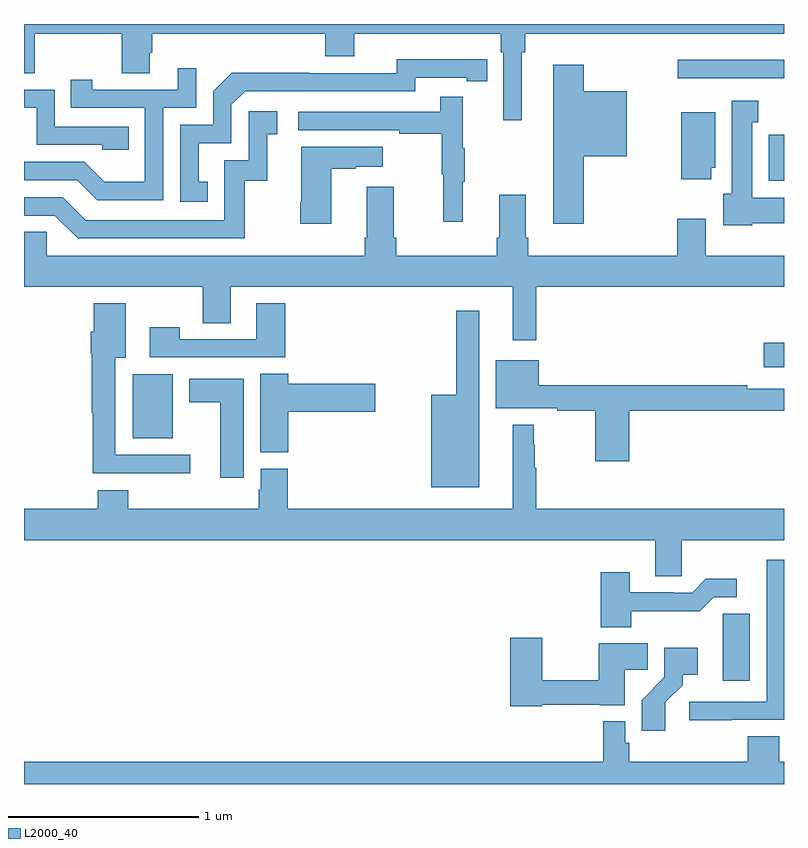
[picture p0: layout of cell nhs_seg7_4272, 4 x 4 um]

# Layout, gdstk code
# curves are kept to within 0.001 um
import gdstk
lib = gdstk.Library(unit=1e-6, precision=1e-09)
def R(c, l, rs):  # rectangles x0, y0, x1, y1
    for r in rs: c.add(gdstk.rectangle(r[:2], r[2:], *l))
def P(c, l, *ps):  # polygons
    for p in ps: c.add(gdstk.Polygon(p, *l))
L2000_40 = (2000, 40)

nhs_seg7_4272 = lib.new_cell('nhs_seg7_4272')
R(nhs_seg7_4272, L2000_40, [(381.572,999.821,381.784,1000.156), (384.894,1000.193,385,1000.323), (384.92,1001.174,385,1001.416), (384.441,1001.715,385,1001.812)])
P(nhs_seg7_4272, L2000_40, [(383.62,1001.852),(383.639,1001.852),(383.639,1001.948),(385,1001.948),(385,1002),(381,1002),(381,1001.74),(381.057,1001.74),(381.057,1001.948),(381.514,1001.948),(381.514,1001.74),(381.661,1001.74),(381.661,1001.85),(381.674,1001.85),(381.674,1001.948),(382.586,1001.948),(382.586,1001.831),(382.738,1001.831),(382.738,1001.948),(383.51,1001.948),(383.51,1001.852),(383.523,1001.852),(383.523,1001.493),(383.62,1001.493)],
  [(381.968,1001.169),(381.919,1001.169),(381.919,1001.373),(382.092,1001.373),(382.092,1001.574),(382.164,1001.646),(383.058,1001.646),(383.058,1001.718),(383.33,1001.718),(383.33,1001.698),(383.438,1001.698),(383.438,1001.814),(382.962,1001.815),(382.962,1001.742),(382.502,1001.742),(382.502,1001.744),(382.094,1001.744),(381.996,1001.646),(381.996,1001.469),(381.822,1001.469),(381.822,1001.064),(381.968,1001.064)],
  [(383.945,1001.303),(384.172,1001.303),(384.172,1001.647),(383.945,1001.647),(383.945,1001.785),(383.786,1001.785),(383.786,1000.95),(383.945,1000.95)],
  [(381.732,1001.559),(381.906,1001.559),(381.906,1001.767),(381.809,1001.767),(381.809,1001.655),(381.358,1001.655),(381.358,1001.707),(381.247,1001.707),(381.247,1001.559),(381.636,1001.559),(381.636,1001.17),(381.422,1001.17),(381.318,1001.274),(381,1001.274),(381,1001.178),(381.281,1001.178),(381.386,1001.073),(381.732,1001.073)],
  [(381.551,1001.46),(381.162,1001.46),(381.162,1001.655),(381,1001.655),(381,1001.559),(381.066,1001.559),(381.066,1001.364),(381.411,1001.364),(381.411,1001.337),(381.551,1001.337)],
  [(383.309,1001.171),(383.32,1001.171),(383.32,1001.345),(383.309,1001.345),(383.309,1001.617),(383.191,1001.617),(383.191,1001.538),(382.443,1001.538),(382.443,1001.442),(382.975,1001.442),(382.975,1001.422),(383.199,1001.422),(383.199,1001.208),(383.206,1001.208),(383.206,1000.959),(383.309,1000.959)],
  [(384.834,1000.952),(385,1000.952),(385,1001.086),(384.832,1001.086),(384.832,1001.483),(384.865,1001.483),(384.865,1001.596),(384.725,1001.596),(384.725,1001.106),(384.68,1001.106),(384.68,1000.94),(384.834,1000.94)],
  [(382.162,1001.175),(382.28,1001.175),(382.28,1001.421),(382.333,1001.421),(382.333,1001.542),(382.182,1001.542),(382.182,1001.283),(382.053,1001.283),(382.053,1000.968),(381.324,1000.968),(381.204,1001.088),(381,1001.088),(381,1000.992),(381.162,1000.992),(381.282,1000.872),(382.162,1000.872)],
  [(384.616,1001.244),(384.637,1001.244),(384.637,1001.536),(384.458,1001.536),(384.458,1001.184),(384.616,1001.184)],
  [(382.618,1001.239),(382.745,1001.239),(382.745,1001.249),(382.888,1001.249),(382.888,1001.353),(382.46,1001.353),(382.46,1001.062),(382.453,1001.062),(382.453,1000.95),(382.618,1000.95)],
  [(383.695,1000.616),(385,1000.616),(385,1000.78),(384.589,1000.78),(384.589,1000.975),(384.437,1000.975),(384.437,1000.78),(383.654,1000.78),(383.654,1000.876),(383.641,1000.876),(383.641,1001.101),(383.501,1001.101),(383.501,1000.876),(383.489,1000.876),(383.489,1000.78),(382.958,1000.78),(382.958,1000.876),(382.945,1000.876),(382.945,1001.143),(382.805,1001.143),(382.805,1000.876),(382.793,1000.876),(382.793,1000.78),(381.12,1000.78),(381.12,1000.907),(381,1000.907),(381,1000.616),(381.94,1000.616),(381.94,1000.426),(382.087,1000.426),(382.087,1000.616),(383.573,1000.616),(383.573,1000.335),(383.695,1000.335)],
  [(382.376,1000.531),(382.223,1000.531),(382.223,1000.341),(381.819,1000.341),(381.819,1000.405),(381.663,1000.405),(381.663,1000.245),(382.376,1000.245)],
  [(381.874,999.732),(381.481,999.732),(381.481,1000.244),(381.535,1000.244),(381.535,1000.531),(381.368,1000.531),(381.368,1000.38),(381.35,1000.38),(381.35,1000.266),(381.356,1000.266),(381.356,999.953),(381.361,999.953),(381.361,999.635),(381.874,999.635)],
  [(383.395,1000.492),(383.274,1000.492),(383.274,1000.048),(383.144,1000.048),(383.144,999.563),(383.395,999.563)],
  [(384.185,999.964),(385,999.964),(385,1000.08),(384.806,1000.08),(384.806,1000.1),(383.71,1000.1),(383.71,1000.231),(383.483,1000.231),(383.483,999.977),(383.806,999.977),(383.806,999.964),(384.007,999.964),(384.007,999.699),(384.185,999.699)],
  [(382.391,999.959),(382.849,999.959),(382.849,1000.106),(382.391,1000.106),(382.391,1000.16),(382.244,1000.16),(382.244,999.745),(382.391,999.745)],
  [(382.156,1000.132),(381.869,1000.132),(381.869,1000.01),(382.034,1000.01),(382.034,999.612),(382.156,999.612)],
  [(384.462,999.284),(385,999.284),(385,999.448),(383.695,999.448),(383.695,999.665),(383.687,999.665),(383.687,999.785),(383.684,999.785),(383.684,999.892),(383.573,999.892),(383.573,999.448),(382.388,999.448),(382.388,999.66),(382.247,999.66),(382.247,999.549),(382.235,999.549),(382.235,999.448),(381.548,999.448),(381.548,999.547),(381.388,999.547),(381.388,999.448),(381,999.448),(381,999.284),(384.323,999.284),(384.323,999.094),(384.462,999.094)],
  [(384.725,998.337),(385,998.337),(385,999.181),(384.908,999.181),(384.908,998.958),(384.909,998.958),(384.909,998.433),(384.501,998.433),(384.501,998.335),(384.725,998.335)],
  [(384.195,998.91),(384.557,998.909),(384.63,998.982),(384.751,998.982),(384.751,999.079),(384.589,999.079),(384.516,999.006),(384.416,999.006),(384.416,999.009),(384.187,999.009),(384.187,999.115),(384.035,999.115),(384.035,998.825),(384.195,998.825)],
  [(384.82,998.897),(384.678,998.897),(384.678,998.786),(384.677,998.786),(384.677,998.544),(384.82,998.544)],
  [(383.724,998.418),(384.03,998.418),(384.03,998.414),(384.163,998.414),(384.163,998.602),(384.284,998.602),(384.284,998.74),(384.026,998.74),(384.026,998.546),(383.728,998.546),(383.728,998.77),(383.558,998.77),(383.558,998.41),(383.724,998.41)],
  [(384.376,998.431),(384.466,998.521),(384.466,998.576),(384.547,998.576),(384.547,998.716),(384.369,998.716),(384.369,998.561),(384.25,998.442),(384.25,998.28),(384.376,998.28)],
  [(385,998.116),(384.974,998.116),(384.974,998.252),(384.809,998.252),(384.809,998.116),(384.185,998.116),(384.185,998.217),(384.165,998.217),(384.165,998.329),(384.049,998.329),(384.049,998.116),(381,998.116),(381,998),(385,998)])

lib.write_gds('nhs_seg7_4272.gds')
